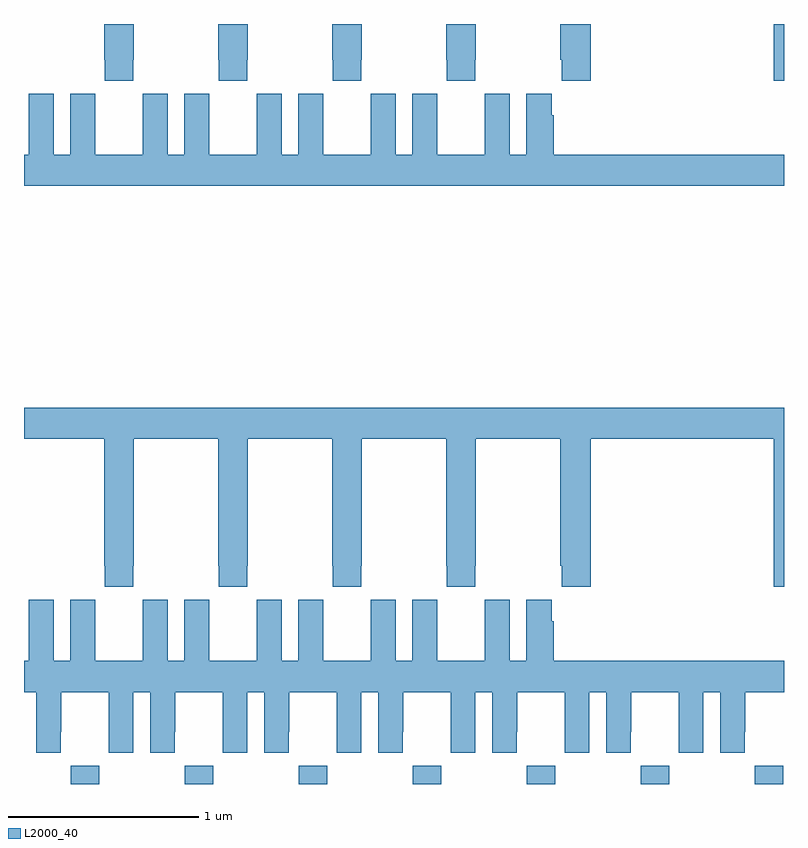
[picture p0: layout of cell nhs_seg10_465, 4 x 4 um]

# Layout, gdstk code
import gdstk
lib = gdstk.Library(unit=1e-6, precision=1e-09)
def R(c, l, rs):  # rectangles x0, y0, x1, y1
    for r in rs: c.add(gdstk.rectangle(r[:2], r[2:], *l))
def A(c, l, x, y, w, h, nx, ny, dx, dy):  # array of equal rectangles
    R(c, l, [(x+i*dx, y+j*dy, x+i*dx+w, y+j*dy+h) for i in range(nx) for j in range(ny)])
def P(c, l, *ps):  # polygons
    for p in ps: c.add(gdstk.Polygon(p, *l))
L2000_40 = (2000, 40)

nhs_seg10_465 = lib.new_cell('nhs_seg10_465')
A(nhs_seg10_465, L2000_40, 133.245, 1298.5, 0.15, 0.096, 7, 1, 0.6, 0)
R(nhs_seg10_465, L2000_40, [(136.946,1302.201,137,1302.5)])
P(nhs_seg10_465, L2000_40, [(133.575,1302.313),(133.578,1302.313),(133.578,1302.5),(133.423,1302.5),(133.423,1302.313),(133.425,1302.313),(133.425,1302.201),(133.575,1302.201)],
  [(134.175,1302.313),(134.178,1302.313),(134.178,1302.5),(134.023,1302.5),(134.023,1302.313),(134.025,1302.313),(134.025,1302.201),(134.175,1302.201)],
  [(134.775,1302.313),(134.778,1302.313),(134.778,1302.5),(134.623,1302.5),(134.623,1302.313),(134.625,1302.313),(134.625,1302.201),(134.775,1302.201)],
  [(135.375,1302.313),(135.378,1302.313),(135.378,1302.5),(135.223,1302.5),(135.223,1302.313),(135.225,1302.313),(135.225,1302.201),(135.375,1302.201)],
  [(135.983,1302.5),(135.823,1302.5),(135.823,1302.313),(135.829,1302.313),(135.829,1302.201),(135.983,1302.201)],
  [(135.644,1302.133),(135.644,1301.812),(135.556,1301.812),(135.556,1302.133),(135.426,1302.133),(135.426,1302.02),(135.425,1302.02),(135.425,1301.812),(135.175,1301.812),(135.175,1302.02),(135.174,1302.02),(135.174,1302.133),(135.044,1302.133),(135.044,1301.812),(134.956,1301.812),(134.956,1302.133),(134.826,1302.133),(134.826,1302.02),(134.825,1302.02),(134.825,1301.812),(134.575,1301.812),(134.575,1302.02),(134.574,1302.02),(134.574,1302.133),(134.444,1302.133),(134.444,1301.812),(134.356,1301.812),(134.356,1302.133),(134.226,1302.133),(134.226,1302.02),(134.225,1302.02),(134.225,1301.812),(133.975,1301.812),(133.975,1302.02),(133.974,1302.02),(133.974,1302.133),(133.844,1302.133),(133.844,1301.812),(133.756,1301.812),(133.756,1302.133),(133.626,1302.133),(133.626,1302.02),(133.625,1302.02),(133.625,1301.812),(133.375,1301.812),(133.375,1302.02),(133.374,1302.02),(133.374,1302.133),(133.244,1302.133),(133.244,1301.812),(133.156,1301.812),(133.156,1302.133),(133.026,1302.133),(133.026,1302.02),(133.025,1302.02),(133.025,1301.812),(133,1301.812),(133,1301.648),(137,1301.648),(137,1301.812),(135.788,1301.812),(135.788,1302.02),(135.778,1302.02),(135.778,1302.133)],
  [(133.575,1299.649),(133.578,1299.649),(133.578,1300.316),(134.023,1300.316),(134.023,1299.649),(134.025,1299.649),(134.025,1299.537),(134.175,1299.537),(134.175,1299.649),(134.178,1299.649),(134.178,1300.316),(134.623,1300.316),(134.623,1299.649),(134.625,1299.649),(134.625,1299.537),(134.775,1299.537),(134.775,1299.649),(134.778,1299.649),(134.778,1300.316),(135.223,1300.316),(135.223,1299.649),(135.225,1299.649),(135.225,1299.537),(135.375,1299.537),(135.375,1299.649),(135.378,1299.649),(135.378,1300.316),(135.823,1300.316),(135.823,1299.649),(135.829,1299.649),(135.829,1299.537),(135.983,1299.537),(135.983,1300.316),(136.946,1300.316),(136.946,1299.537),(137,1299.537),(137,1300.48),(133,1300.48),(133,1300.316),(133.423,1300.316),(133.423,1299.649),(133.425,1299.649),(133.425,1299.537),(133.575,1299.537)],
  [(133.975,1299.356),(133.974,1299.356),(133.974,1299.469),(133.844,1299.469),(133.844,1299.148),(133.756,1299.148),(133.756,1299.469),(133.626,1299.469),(133.626,1299.356),(133.625,1299.356),(133.625,1299.148),(133.375,1299.148),(133.375,1299.356),(133.374,1299.356),(133.374,1299.469),(133.244,1299.469),(133.244,1299.148),(133.156,1299.148),(133.156,1299.469),(133.026,1299.469),(133.026,1299.356),(133.025,1299.356),(133.025,1299.148),(133,1299.148),(133,1298.984),(133.064,1298.984),(133.064,1298.664),(133.194,1298.664),(133.194,1298.776),(133.195,1298.776),(133.195,1298.984),(133.445,1298.984),(133.445,1298.776),(133.446,1298.776),(133.446,1298.664),(133.576,1298.664),(133.576,1298.984),(133.664,1298.984),(133.664,1298.664),(133.794,1298.664),(133.794,1298.776),(133.795,1298.776),(133.795,1298.984),(134.045,1298.984),(134.045,1298.776),(134.046,1298.776),(134.046,1298.664),(134.176,1298.664),(134.176,1298.984),(134.264,1298.984),(134.264,1298.664),(134.394,1298.664),(134.394,1298.776),(134.395,1298.776),(134.395,1298.984),(134.645,1298.984),(134.645,1298.776),(134.646,1298.776),(134.646,1298.664),(134.776,1298.664),(134.776,1298.984),(134.864,1298.984),(134.864,1298.664),(134.994,1298.664),(134.994,1298.776),(134.995,1298.776),(134.995,1298.984),(135.245,1298.984),(135.245,1298.776),(135.246,1298.776),(135.246,1298.664),(135.376,1298.664),(135.376,1298.984),(135.464,1298.984),(135.464,1298.664),(135.594,1298.664),(135.594,1298.776),(135.595,1298.776),(135.595,1298.984),(135.845,1298.984),(135.845,1298.776),(135.846,1298.776),(135.846,1298.664),(135.976,1298.664),(135.976,1298.984),(136.064,1298.984),(136.064,1298.664),(136.194,1298.664),(136.194,1298.776),(136.195,1298.776),(136.195,1298.984),(136.445,1298.984),(136.445,1298.776),(136.446,1298.776),(136.446,1298.664),(136.576,1298.664),(136.576,1298.984),(136.664,1298.984),(136.664,1298.664),(136.794,1298.664),(136.794,1298.776),(136.795,1298.776),(136.795,1298.984),(137,1298.984),(137,1299.148),(135.788,1299.148),(135.788,1299.356),(135.778,1299.356),(135.778,1299.469),(135.644,1299.469),(135.644,1299.148),(135.556,1299.148),(135.556,1299.469),(135.426,1299.469),(135.426,1299.356),(135.425,1299.356),(135.425,1299.148),(135.175,1299.148),(135.175,1299.356),(135.174,1299.356),(135.174,1299.469),(135.044,1299.469),(135.044,1299.148),(134.956,1299.148),(134.956,1299.469),(134.826,1299.469),(134.826,1299.356),(134.825,1299.356),(134.825,1299.148),(134.575,1299.148),(134.575,1299.356),(134.574,1299.356),(134.574,1299.469),(134.444,1299.469),(134.444,1299.148),(134.356,1299.148),(134.356,1299.469),(134.226,1299.469),(134.226,1299.356),(134.225,1299.356),(134.225,1299.148),(133.975,1299.148)])

lib.write_gds('nhs_seg10_465.gds')
